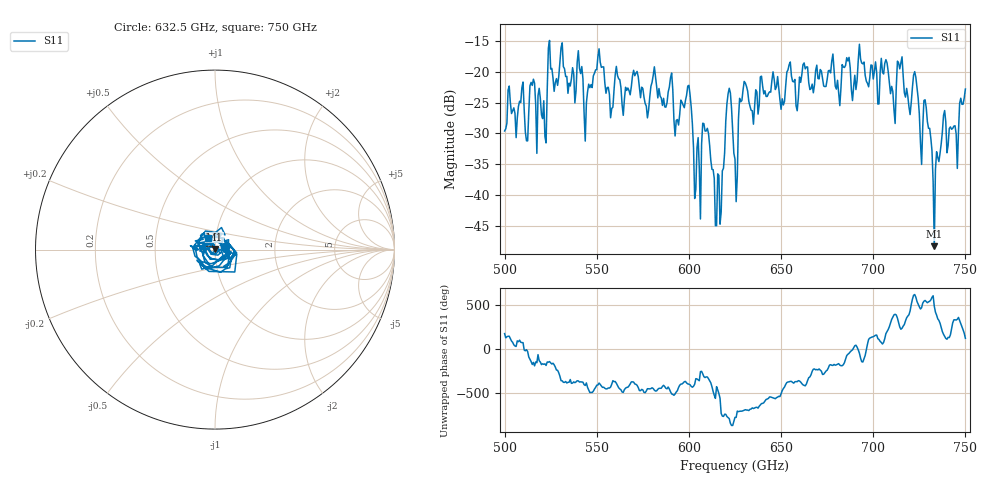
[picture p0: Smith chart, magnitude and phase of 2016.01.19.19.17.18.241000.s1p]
!Created with skrf (http://scikit-rf.org).
# GHz S RI R 50.0
!freq ReS11 ImS11
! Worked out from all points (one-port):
!   401 points, 500 GHz to 750 GHz, reference 50 ohm
!   lowest |S11| = -48.2 dB at 733.1 GHz (marker M1), VSWR 1.01, Z = 49.8 + j0.303 ohm
!   |S11| at or under -10 dB: start of sweep to end of sweep
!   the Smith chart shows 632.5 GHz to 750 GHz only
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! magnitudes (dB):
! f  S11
! 500 GHz  -29.6
! 508.8 GHz  -25.0
! 511.9 GHz  -31.2
! 515 GHz  -22.2
! 521.2 GHz  -24.7
! 524.4 GHz  -15.0
! 531.2 GHz  -15.3
! 544.4 GHz  -25.1
! 550.6 GHz  -17.5
! 562.5 GHz  -21.3
! 590 GHz  -21.0
! 593.8 GHz  -27.8
! 600 GHz  -22.2
! 603.1 GHz  -40.5
! 609.4 GHz  -29.6
! 615.6 GHz  -36.5
! 621.9 GHz  -22.7
! 625 GHz  -34.2
! 630.6 GHz  -21.9
! 656.2 GHz  -21.6
! 687.5 GHz  -19.4
! 706.9 GHz  -18.1
! 710.6 GHz  -23.2
! 714.4 GHz  -19.6
! 718.8 GHz  -24.0
! 728.8 GHz  -25.8
! 733.1 GHz  -48.2
! 750 GHz  -22.8
